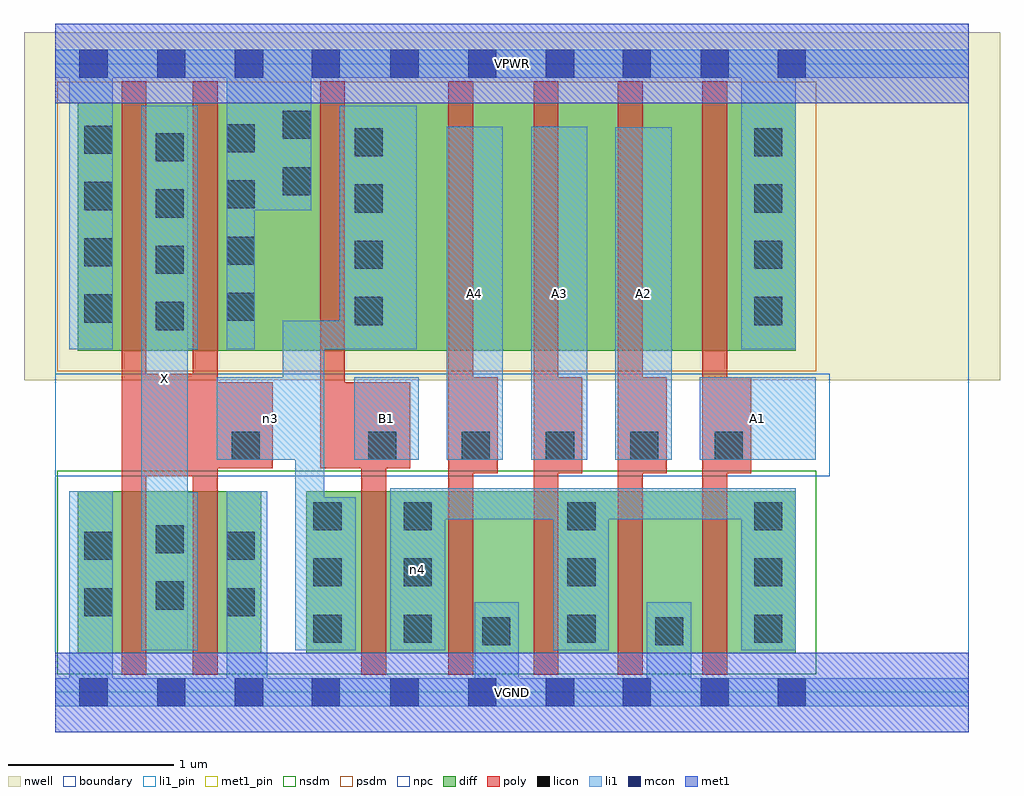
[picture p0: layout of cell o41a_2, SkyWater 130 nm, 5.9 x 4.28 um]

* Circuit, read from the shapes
.subckt o41a_2 A1 A2 A3 A4 B1 VGND VPWR X n3 n4
XM1 X n3 VGND VSUBS sky130_fd_pr__nfet_01v8 w=0.98 l=0.15 m=2
XM2 n4 B1 n3 VSUBS sky130_fd_pr__nfet_01v8 w=0.98 l=0.15
XM3 VGND A4 n4 VSUBS sky130_fd_pr__nfet_01v8 w=0.98 l=0.15
XM4 n4 A3 VGND VSUBS sky130_fd_pr__nfet_01v8 w=0.98 l=0.15
XM5 VGND A2 n4 VSUBS sky130_fd_pr__nfet_01v8 w=0.98 l=0.15
XM6 n4 A1 VGND VSUBS sky130_fd_pr__nfet_01v8 w=0.98 l=0.15
XM7 X n3 VPWR n1 sky130_fd_pr__pfet_01v8 w=1.5 l=0.15 m=2
XM8 n3 B1 VPWR n1 sky130_fd_pr__pfet_01v8 w=1.5 l=0.15
XM9 n2 A4 n3 n1 sky130_fd_pr__pfet_01v8 w=1.5 l=0.15
XM10 n5 A3 n2 n1 sky130_fd_pr__pfet_01v8 w=1.5 l=0.15
XM11 n6 A2 n5 n1 sky130_fd_pr__pfet_01v8 w=1.5 l=0.15
XM12 VPWR A1 n6 n1 sky130_fd_pr__pfet_01v8 w=1.5 l=0.15
.ends

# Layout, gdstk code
import gdstk
lib = gdstk.Library(unit=1e-6, precision=1e-09)
def R(c, l, rs):  # rectangles x0, y0, x1, y1
    for r in rs: c.add(gdstk.rectangle(r[:2], r[2:], *l))
def A(c, l, x, y, w, h, nx, ny, dx, dy):  # array of equal rectangles
    R(c, l, [(x+i*dx, y+j*dy, x+i*dx+w, y+j*dy+h) for i in range(nx) for j in range(ny)])
nwell = (64, 20)
diff = (65, 20)
poly = (66, 20)
licon = (66, 44)
li1_pin = (67, 16)
li1 = (67, 20)
mcon = (67, 44)
met1_pin = (68, 16)
met1 = (68, 20)
nsdm = (93, 44)
psdm = (94, 20)
npc = (95, 20)
boundary = (235, 4)

o41a_2 = lib.new_cell('o41a_2')
R(o41a_2, nwell, [(-0.19,1.885,5.71,3.99), (0,1.885,5.52,3.99)])
R(o41a_2, diff, [(0.135,0.235,1.245,1.215), (1.515,0.235,4.475,1.215), (0.135,2.065,4.475,3.565)])
A(o41a_2, poly, 2.89, 0.105, 0.15, 3.59, 3, 1, 0.51, 0)
A(o41a_2, poly, 2.89, 1.325, 0.295, 0.58, 3, 1, 0.51, 0)
R(o41a_2, poly, [(0.4,0.105,0.55,3.695), (0.83,0.105,0.98,3.695), (1.85,0.105,2,1.875), (2.375,0.105,2.525,3.695), (0.4,1.305,0.98,1.925), (2.375,1.325,2.675,1.905), (0.4,1.355,1.315,1.875), (1.6,1.355,1.75,3.695), (1.6,1.355,2.145,1.875)])
A(o41a_2, licon, 1.56, 0.3, 0.17, 0.17, 1, 3, 0, 0.34)
A(o41a_2, licon, 2.105, 0.3, 0.17, 0.17, 1, 3, 0, 0.34)
A(o41a_2, licon, 3.095, 0.3, 0.17, 0.17, 1, 3, 0, 0.34)
A(o41a_2, licon, 4.225, 0.3, 0.17, 0.17, 1, 3, 0, 0.34)
A(o41a_2, licon, 2.455, 1.405, 0.17, 0.17, 4, 1, 0.51, 0)
A(o41a_2, licon, 0.605, 2.19, 0.17, 0.17, 1, 4, 0, 0.34)
A(o41a_2, licon, 1.81, 2.22, 0.17, 0.17, 1, 4, 0, 0.34)
A(o41a_2, licon, 4.225, 2.22, 0.17, 0.17, 1, 4, 0, 0.34)
A(o41a_2, licon, 0.175, 2.235, 0.17, 0.17, 1, 4, 0, 0.34)
A(o41a_2, licon, 1.035, 2.245, 0.17, 0.17, 1, 4, 0, 0.34)
R(o41a_2, licon, [(2.58,0.285,2.75,0.455), (3.625,0.285,3.795,0.455), (0.175,0.46,0.345,0.63), (1.035,0.46,1.205,0.63), (0.605,0.5,0.775,0.67), (0.175,0.8,0.345,0.97), (1.035,0.8,1.205,0.97), (0.605,0.84,0.775,1.01), (1.065,1.405,1.235,1.575), (1.89,1.405,2.06,1.575), (1.375,3.005,1.545,3.175), (1.375,3.345,1.545,3.515)])
R(o41a_2, li1_pin, [(0.52,0.255,0.8,3.545), (1.805,1.405,2.195,1.905), (2.365,1.405,2.705,3.42), (2.875,1.405,3.215,3.42), (3.385,1.405,3.725,3.415), (3.895,1.405,4.595,1.905)])
R(o41a_2, li1, [(0,-0.085,5.52,0.085), (0.085,-0.085,0.345,1.215), (1.035,-0.085,1.28,1.215), (2.535,-0.085,2.8,0.545), (3.575,-0.085,3.845,0.545), (0.52,0.255,0.8,3.545), (0.52,0.255,0.86,1.21), (1.45,0.255,1.625,2.245), (1.45,0.255,1.815,1.18), (2.025,0.255,2.355,1.235), (3.01,0.255,3.345,1.235), (4.145,0.255,4.475,1.235), (2.025,1.045,4.475,1.235), (0.975,1.405,1.625,1.905), (1.375,1.405,1.625,2.245), (1.805,1.405,2.195,1.905), (2.365,1.405,2.705,3.42), (2.875,1.405,3.215,3.42), (3.385,1.405,3.725,3.415), (3.895,1.405,4.595,1.905), (0.085,2.075,0.345,3.885), (0.52,2.075,0.86,3.545), (1.035,2.075,1.205,3.885), (1.375,2.075,2.185,2.245), (1.72,2.075,2.185,3.545), (4.145,2.075,4.475,3.885), (1.035,2.915,1.545,3.885), (0,3.715,5.52,3.885)])
A(o41a_2, mcon, 0.145, -0.085, 0.17, 0.17, 3, 2, 0.47, 3.8)
A(o41a_2, mcon, 2.025, -0.085, 0.17, 0.17, 3, 2, 0.47, 3.8)
R(o41a_2, mcon, [(1.55,-0.085,1.72,0.085), (3.43,-0.085,3.6,0.085), (3.9,-0.085,4.07,0.085), (4.365,-0.085,4.535,0.085), (1.55,3.715,1.72,3.885), (3.43,3.715,3.6,3.885), (3.9,3.715,4.07,3.885), (4.365,3.715,4.535,3.885)])
R(o41a_2, met1_pin, [(0,-0.24,5.52,0.24), (0,3.56,5.52,4.04)])
R(o41a_2, met1, [(0,-0.24,5.52,0.24), (0,3.56,5.52,4.04)])
R(o41a_2, nsdm, [(0.01,0.11,4.6,1.34)])
R(o41a_2, psdm, [(0.01,1.94,4.6,3.69)])
R(o41a_2, npc, [(0,1.305,4.68,1.925)])
R(o41a_2, boundary, [(0,0,5.52,3.8)])
o41a_2.add(gdstk.Label('A1', (4.245,1.655), layer=67, texttype=5))
o41a_2.add(gdstk.Label('A2', (3.555,2.41), layer=67, texttype=5))
o41a_2.add(gdstk.Label('A3', (3.045,2.412), layer=67, texttype=5))
o41a_2.add(gdstk.Label('A4', (2.535,2.412), layer=67, texttype=5))
o41a_2.add(gdstk.Label('B1', (2,1.655), layer=67, texttype=5))
o41a_2.add(gdstk.Label('X', (0.66,1.9), layer=67, texttype=5))
o41a_2.add(gdstk.Label('n4', (2.19,0.745), layer=67, texttype=5))
o41a_2.add(gdstk.Label('n3', (1.3,1.655), layer=67, texttype=5))
o41a_2.add(gdstk.Label('VPWR', (2.76,3.8), layer=68, texttype=5))
o41a_2.add(gdstk.Label('VGND', (2.76,0), layer=68, texttype=5))
o41a_2.add(gdstk.Label('A1', (4.245,1.655), layer=67, texttype=16))
o41a_2.add(gdstk.Label('A2', (3.555,2.41), layer=67, texttype=16))
o41a_2.add(gdstk.Label('A3', (3.045,2.412), layer=67, texttype=16))
o41a_2.add(gdstk.Label('A4', (2.535,2.412), layer=67, texttype=16))
o41a_2.add(gdstk.Label('B1', (2,1.655), layer=67, texttype=16))
o41a_2.add(gdstk.Label('X', (0.66,1.9), layer=67, texttype=16))
o41a_2.add(gdstk.Label('VPWR', (2.76,3.8), layer=68, texttype=16))
o41a_2.add(gdstk.Label('VGND', (2.76,0), layer=68, texttype=16))

lib.write_gds('o41a_2.gds')
